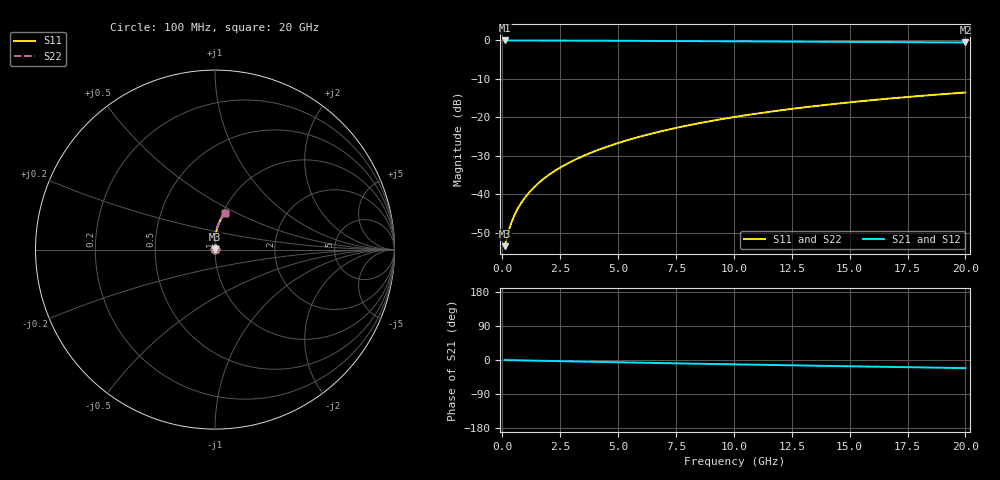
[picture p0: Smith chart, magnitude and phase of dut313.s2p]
! Touchstone file exported from HFSS 2024.1.0
!  File:  C:/UserFiles/LocalFiles/RDL_TSV_Batchsim/temp_RDL_top_313_1779606695.aedt
!  Generated:  03:13:59 PM May 24, 2026
!  Design:  RDL_top
!  Project:  temp_RDL_top_313_1779606695
!  Setup:  Setup1
!  Solution:  Sweep
! Variables:
!  dtsv = 10.80580581um
!  hbump = 3um
!  htsv = 68.67um
!  ldown = 100um
!  lrdl = 286.14um
!  p = 40
!  p1 = 47.07um
!  rhole = 1um
!  t = 450um
!  tdown = 3.915915916um
!  trdl = 2.69um
!  wdown = 15.38538539um
!  wrdl = 24.38um
# GHz S MA R 50.000000
! Terminal data exported
! Port[1] = Box2_T1
! Port[2] = Box2_T2
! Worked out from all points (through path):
!   200 points, 100 MHz to 20 GHz, reference 50 ohm
!   highest |S21| = -0.02 dB at 100 MHz (marker M1); lowest = -0.5 dB at 20 GHz (marker M2)
!   group delay of S21, straight-line fit = 2.94 ps
!   lowest |S11| = -53.5 dB at 100 MHz (marker M3), VSWR 1.00, Z = 50.2 + j0.0993 ohm
!   |S11| at or under -10 dB: start of sweep to end of sweep
!   |S22| runs from -53.5 to -13.6 dB; largest |S21 - S12| = 4.2e-15
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0.1  0.002102 28.1  0.9981 -0.1  0.9981 -0.1  0.002102 28.1
! Gamma 0 0 0 0
! Port Impedance 50 0 50 0
0.3  0.003503 55.3  0.998 -0.4  0.998 -0.4  0.003503 55.3
0.4  0.004304 61.2  0.9978 -0.5  0.9978 -0.5  0.004304 61.2
0.5  0.00511 65.3  0.9977 -0.6  0.9977 -0.6  0.00511 65.3
0.6  0.005917 68.4  0.9976 -0.8  0.9976 -0.8  0.005917 68.4
0.8  0.007539 72.8  0.9974 -1.0  0.9974 -1.0  0.007539 72.8
1  0.009178 75.9  0.9972 -1.3  0.9972 -1.3  0.009178 75.9
1.2  0.01084 78.2  0.997 -1.5  0.997 -1.5  0.01084 78.2
1.7  0.01509 82.0  0.9964 -2.1  0.9964 -2.1  0.01509 82.0
2.2  0.01947 84.4  0.9956 -2.7  0.9956 -2.7  0.01947 84.4
2.8  0.02488 86.3  0.9944 -3.5  0.9944 -3.5  0.02488 86.3
3.5  0.03141 87.7  0.9928 -4.3  0.9928 -4.3  0.03141 87.7
4.2  0.03817 88.5  0.991 -5.1  0.991 -5.1  0.03817 88.5
5  0.04617 89.0  0.9887 -6.1  0.9887 -6.1  0.04617 89.0
5.9  0.05548 89.1  0.986 -7.1  0.986 -7.1  0.05548 89.1
6.8  0.06506 88.8  0.983 -8.1  0.983 -8.1  0.06506 88.8
8.4  0.08258 87.9  0.9777 -9.8  0.9777 -9.8  0.08258 87.9
10.1  0.1016 86.4  0.9721 -11.6  0.9721 -11.6  0.1016 86.4
11.7  0.1196 84.7  0.9668 -13.2  0.9668 -13.2  0.1196 84.7
13.4  0.1386 82.8  0.9612 -14.9  0.9612 -14.9  0.1386 82.8
16.7  0.175 79.0  0.9506 -18.2  0.9506 -18.2  0.175 79.0
20  0.21 75.2  0.9398 -21.4  0.9398 -21.4  0.21 75.2
